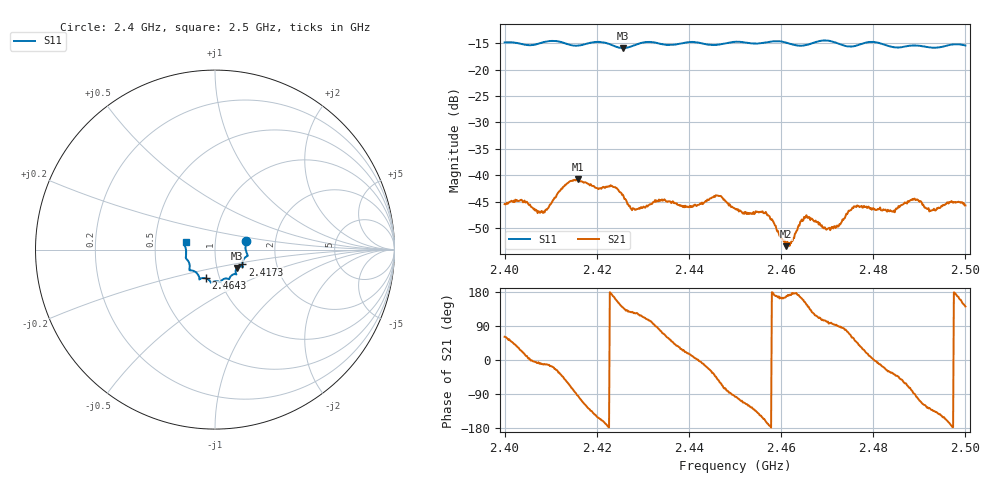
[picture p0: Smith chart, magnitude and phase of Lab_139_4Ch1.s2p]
# Hz S RI R 50
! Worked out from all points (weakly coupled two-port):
!   601 points, 2.4 GHz to 2.5 GHz, reference 50 ohm
!   highest |S21| = -40.79 dB at 2.4158 GHz (marker M1); lowest = -53.4 dB at 2.461 GHz (marker M2)
!   lowest |S11| = -15.9 dB at 2.4257 GHz (marker M3), VSWR 1.38, Z = 62.4 - j13.1 ohm
!   |S11| at or under -10 dB: start of sweep to end of sweep
!   S12 and S22 are empty: the file has one direction only
!   S11 on the Smith chart (normalised r, x): 2.4 GHz: 1.41, +0.14; 2.4173 GHz: 1.34, -0.23; 2.4643 GHz: 0.86, -0.28; 2.5 GHz: 0.72, +0.06
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2.4e9  0.1738 0.0493  0.00257 0.00469  0 0  0 0
2.403833e9  0.1719 0.0267  0.00535 0.00213  0 0  0 0
2.408167e9  0.1787 -0.0226  0.00446 -0.000879  0 0  0 0
2.415833e9  0.1552 -0.065  -0.000606 -0.00911  0 0  0 0
2.416667e9  0.1531 -0.0749  -0.00248 -0.00841  0 0  0 0
2.417333e9  0.1524 -0.0825  -0.0038 -0.00765  0 0  0 0
2.425667e9  0.1224 -0.1025  -0.00491 0.00432  0 0  0 0
2.428e9  0.1147 -0.1238  -0.00268 0.00403  0 0  0 0
2.433333e9  0.1127 -0.1365  0.000676 0.00562  0 0  0 0
2.440333e9  0.0793 -0.1642  0.00484 0.00122  0 0  0 0
2.446333e9  0.0445 -0.1662  0.0039 -0.0051  0 0  0 0
2.45e9  0.0295 -0.1808  -0.000572 -0.0048  0 0  0 0
2.457e9  -0.0137 -0.181  -0.00408 -0.000923  0 0  0 0
2.461e9  -0.026 -0.1786  -0.00206 0.000543  0 0  0 0
2.464333e9  -0.0501 -0.1603  -0.00354 0.00103  0 0  0 0
2.466667e9  -0.0763 -0.1596  -0.00231 0.00312  0 0  0 0
2.470333e9  -0.0871 -0.1656  -0.000329 0.00314  0 0  0 0
2.476333e9  -0.12 -0.1181  0.00337 0.00369  0 0  0 0
2.483333e9  -0.1407 -0.0897  0.00404 -0.00224  0 0  0 0
2.488667e9  -0.1622 -0.0476  0.000297 -0.00586  0 0  0 0
2.492667e9  -0.1603 -0.0176  -0.0031 -0.00347  0 0  0 0
2.5e9  -0.1637 0.0415  -0.00404 0.00325  0 0  0 0
